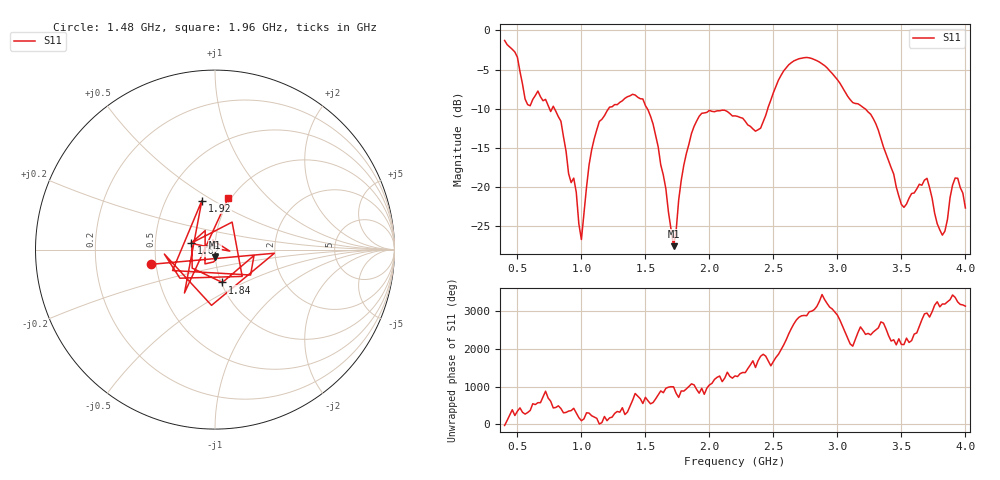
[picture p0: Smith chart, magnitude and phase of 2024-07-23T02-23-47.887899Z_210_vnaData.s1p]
!Created with skrf (http://scikit-rf.org).
# Hz S RI R 50.0
!freq ReS11 ImS11
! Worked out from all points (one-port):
!   181 points, 400 MHz to 4 GHz, reference 50 ohm
!   lowest |S11| = -27.6 dB at 1.72 GHz (marker M1), VSWR 1.09, Z = 50 - j4.19 ohm
!   |S11| at or under -10 dB: 790 MHz to 1.212 GHz (421.7 MHz wide, 42.1 % of centre); 1.515 GHz to 2.456 GHz (940.9 MHz wide, 47.4 % of centre); 3.216 GHz to end of sweep (the widest 3 of 4)
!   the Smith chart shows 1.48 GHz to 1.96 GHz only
!   S11 on the Smith chart (normalised r, x): 1.48 GHz: 0.47, -0.09; 1.62 GHz: 0.76, +0.05; 1.84 GHz: 1.01, -0.38; 1.92 GHz: 0.75, +0.45; 1.96 GHz: 0.97, +0.61
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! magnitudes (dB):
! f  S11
! 400 MHz  -1.3
! 500 MHz  -3.4
! 580 MHz  -9.5
! 660 MHz  -7.7
! 860 MHz  -13.6
! 960 MHz  -20.7
! 1 GHz  -26.7
! 1.1 GHz  -13.8
! 1.3 GHz  -9.2
! 1.48 GHz  -8.8
! 1.62 GHz  -17.2
! 1.72 GHz  -27.6
! 1.76 GHz  -21.7
! 1.84 GHz  -14.5
! 1.92 GHz  -11.0
! 1.96 GHz  -10.5
! 2.2 GHz  -10.9
! 2.4 GHz  -12.5
! 2.66 GHz  -3.9
! 2.88 GHz  -4.3
! 3.1 GHz  -8.8
! 3.26 GHz  -10.7
! 3.5 GHz  -22.2
! 3.56 GHz  -21.4
! 3.7 GHz  -18.9
! 3.82 GHz  -26.1
! 3.92 GHz  -18.9
! 4 GHz  -22.7
